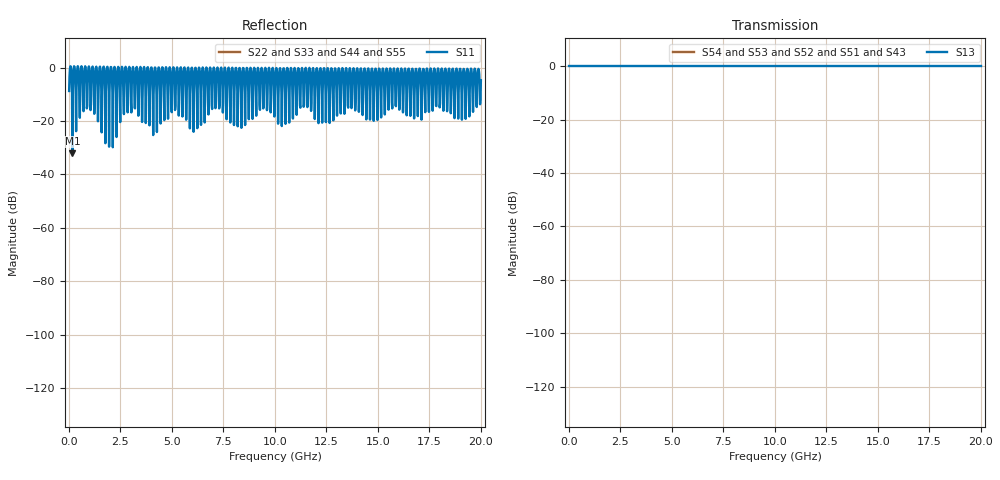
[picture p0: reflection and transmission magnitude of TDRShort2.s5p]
! File created by SignalIntegrity v1.3.3: Signal and Power Integrity Tools
! https://github.com/TeledyneLeCroy/SignalIntegrity
# MHz S MA R 50.0
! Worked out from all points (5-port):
!   1000 points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, 20 MHz to 20 GHz, reference 50 ohm
!   strongest paths, dB at 20 MHz, 5.02 GHz, 10.02 GHz, 15.02 GHz, 20 GHz:
!     S13: 0.0, 0.0, 0.0, 0.0, 0.0
!     S54: -, -, -, -, -
!     S53: -, -, -, -, -
!     S52: -, -, -, -, -
!     S51: -, -, -, -, -
!     S43: -, -, -, -, -
!   lowest |S11| = -32.1 dB at 180 MHz (marker M1), VSWR 1.05, Z = 50.1 + j2.49 ohm
!   |S11| at or under -10 dB: 337.9 MHz to 377 MHz (39.12 MHz wide, 10.9 % of centre); 513.3 MHz to 554.7 MHz (41.42 MHz wide, 7.76 % of centre); 690.9 MHz to 732.6 MHz (41.7 MHz wide, 5.86 % of centre)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
